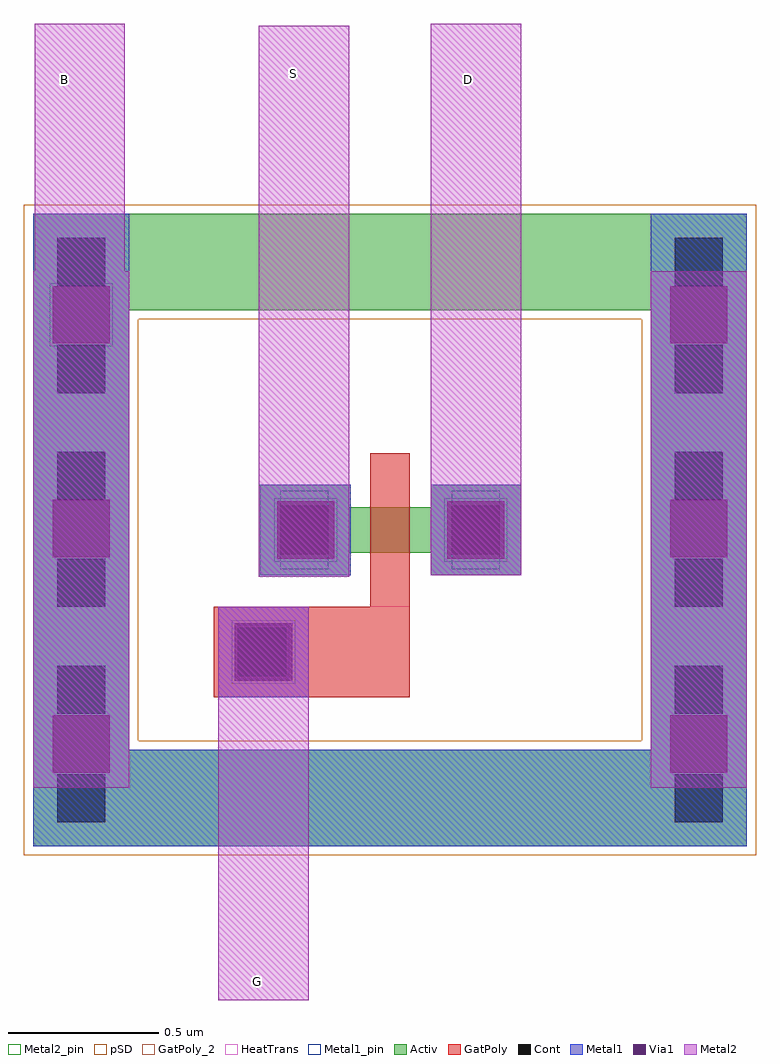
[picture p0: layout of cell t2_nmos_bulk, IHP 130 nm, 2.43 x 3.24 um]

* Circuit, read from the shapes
.subckt t2_nmos_bulk B D G S
XM1 D G S B sg13_lv_nmos w=0.15u l=0.13u
.ends

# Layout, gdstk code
import gdstk
lib = gdstk.Library(unit=1e-6, precision=1e-09)
def R(c, l, rs):  # rectangles x0, y0, x1, y1
    for r in rs: c.add(gdstk.rectangle(r[:2], r[2:], *l))
def A(c, l, x, y, w, h, nx, ny, dx, dy):  # array of equal rectangles
    R(c, l, [(x+i*dx, y+j*dy, x+i*dx+w, y+j*dy+h) for i in range(nx) for j in range(ny)])
Activ = (1, 0)
GatPoly = (5, 0)
GatPoly_2 = (5, 2)
Cont = (6, 0)
Metal1 = (8, 0)
Metal1_pin = (8, 2)
Metal2 = (10, 0)
Metal2_pin = (10, 2)
pSD = (14, 0)
Via1 = (19, 0)
HeatTrans = (51, 0)

nmos = lib.new_cell('nmos')
R(nmos, Activ, [(0,0,0.3,0.3), (0.57,0,0.87,0.3), (0,0.075,0.87,0.225)])
R(nmos, GatPoly, [(0.37,-0.105,0.5,0.405)])
R(nmos, GatPoly_2, [(0.37,-0.105,0.5,0.405)])
R(nmos, Cont, [(0.07,0.07,0.23,0.23), (0.64,0.07,0.8,0.23)])
R(nmos, Metal1, [(0.07,0.02,0.23,0.28), (0.64,0.02,0.8,0.28)])
R(nmos, Metal1_pin, [(0.07,0.02,0.23,0.28), (0.64,0.02,0.8,0.28)])
R(nmos, HeatTrans, [(0.37,-0.105,0.5,0.405)])
nmos.add(gdstk.Label('nmos', (0.435,0.15), layer=63, texttype=0))
nmos.add(gdstk.Label('nmos', (0.435,0.15), layer=51, texttype=0))

t2_nmos_bulk = lib.new_cell('t2_nmos_bulk')
R(t2_nmos_bulk, Activ, [(4.03,-3.835,6.08,-3.515), (6.08,-3.835,6.4,-2.055), (4.03,-3.515,4.35,-1.735), (4.35,-2.055,6.4,-1.735)])
R(t2_nmos_bulk, GatPoly, [(4.63,-3.34,5.28,-3.04)])
A(t2_nmos_bulk, Cont, 4.11, -3.395, 0.16, 0.16, 1, 5, 0, 0.355)
A(t2_nmos_bulk, Cont, 6.16, -3.395, 0.16, 0.16, 1, 5, 0, 0.355)
R(t2_nmos_bulk, Cont, [(4.11,-3.755,4.27,-3.595), (6.16,-3.755,6.32,-3.595), (4.71,-3.27,4.87,-3.11)])
R(t2_nmos_bulk, Metal1, [(4.03,-3.835,4.35,-1.735), (4.35,-3.835,6.08,-3.515), (6.08,-3.835,6.4,-1.735), (4.645,-3.34,4.945,-3.04), (4.785,-2.935,5.085,-2.635), (5.35,-2.935,5.65,-2.635)])
R(t2_nmos_bulk, Metal2, [(4.645,-4.345,4.945,-3.04), (4.03,-3.64,4.35,-1.925), (6.08,-3.64,6.4,-1.925), (4.78,-2.94,5.08,-1.11), (5.35,-2.935,5.65,-1.105), (4.035,-2.305,4.335,-1.105)])
R(t2_nmos_bulk, Metal2_pin, [(4.69,-3.295,4.9,-3.085), (4.83,-2.89,5.04,-2.68), (5.395,-2.89,5.605,-2.68), (4.085,-2.175,4.295,-1.965)])
R(t2_nmos_bulk, pSD, [(4,-3.865,6.05,-3.485), (6.05,-3.865,6.43,-2.085), (4,-3.485,4.38,-1.705), (4.38,-2.085,6.43,-1.705)])
R(t2_nmos_bulk, Via1, [(4.095,-3.59,4.285,-3.4), (6.145,-3.59,6.335,-3.4), (4.7,-3.285,4.89,-3.095), (4.84,-2.88,5.03,-2.69), (5.405,-2.88,5.595,-2.69), (4.095,-2.875,4.285,-2.685), (6.145,-2.875,6.335,-2.685), (4.095,-2.165,4.285,-1.975), (6.145,-2.165,6.335,-1.975)])
t2_nmos_bulk.add(gdstk.Reference(nmos, (4.78,-2.935)))
t2_nmos_bulk.add(gdstk.Label('B', (4.135,-1.29), layer=10, texttype=2))
t2_nmos_bulk.add(gdstk.Label('G', (4.775,-4.285), layer=10, texttype=2))
t2_nmos_bulk.add(gdstk.Label('D', (5.475,-1.29), layer=10, texttype=2))
t2_nmos_bulk.add(gdstk.Label('S', (4.895,-1.27), layer=10, texttype=2))

lib.write_gds('t2_nmos_bulk.gds')
